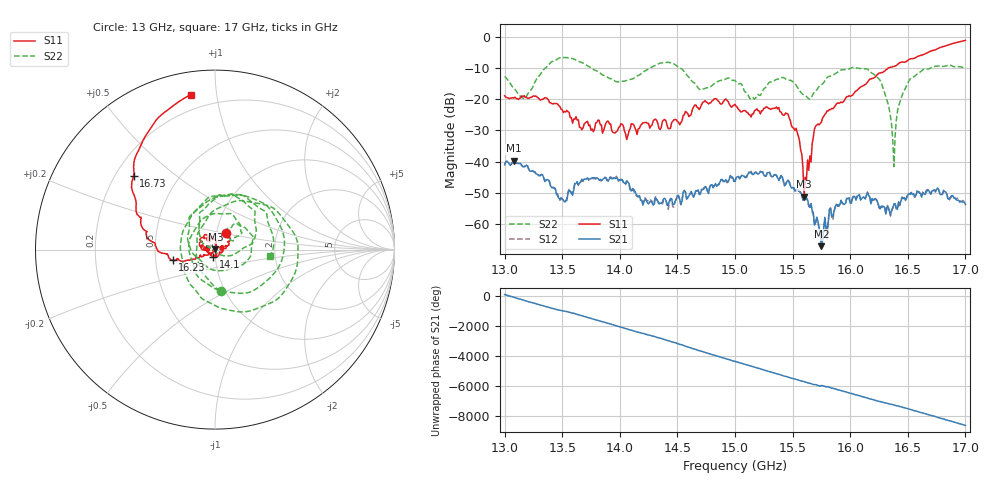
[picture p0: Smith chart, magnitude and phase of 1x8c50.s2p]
!Keysight Technologies,P9374A,MY57211807,A.19.30.04
!Date: Friday, May 08, 2026 15:11:56
!Correction: S11(C  2-Port  )
!S21(C  2-Port  )
!S12(C  2-Port  )
!S22(C  2-Port  )
!S2P File: Measurements: S11, S21, S12, S22:
# Hz S  dB  R 50
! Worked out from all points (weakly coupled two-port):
!   401 points, 13 GHz to 17 GHz, reference 50 ohm
!   highest |S21| = -39.70 dB at 13.08 GHz (marker M1); lowest = -67.1 dB at 15.75 GHz (marker M2)
!   lowest |S11| = -51.3 dB at 15.6 GHz (marker M3), VSWR 1.01, Z = 50.2 + j0.209 ohm
!   |S11| at or under -10 dB: start of sweep to 16.33 GHz
!   |S22| runs from -41.6 to -6.6 dB; largest |S21 - S12| = 0.00042
!   S11 on the Smith chart (normalised r, x): 13 GHz: 1.11, +0.21; 14.1 GHz: 0.98, -0.08; 16.23 GHz: 0.61, -0.08; 16.73 GHz: 0.27, +0.36; 17 GHz: 0.12, +0.85
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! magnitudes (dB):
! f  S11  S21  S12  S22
! 13 GHz  -18.9  -41.0  -40.9  -12.7
! 13.08 GHz  -19.6  -39.7  -39.7  -16.5
! 13.18 GHz  -19.4  -41.5  -41.5  -19.7
! 13.52 GHz  -23.9  -52.9  -52.9  -6.6
! 13.67 GHz  -29.8  -45.6  -45.9  -8.2
! 14.1 GHz  -27.9  -49.4  -49.6  -13.6
! 14.34 GHz  -29.3  -53.6  -53.4  -8.6
! 14.7 GHz  -22.6  -50.4  -50.2  -17.0
! 15 GHz  -21.6  -46.2  -46.4  -14.1
! 15.15 GHz  -24.7  -44.1  -44.1  -19.3
! 15.46 GHz  -24.7  -45.9  -45.9  -13.9
! 15.55 GHz  -31.8  -49.3  -49.4  -16.7
! 15.6 GHz  -51.3  -51.7  -51.5  -18.7
! 15.67 GHz  -34.2  -55.7  -56.1  -19.0
! 15.75 GHz  -27.4  -67.1  -66.6  -15.3
! 15.9 GHz  -21.3  -54.3  -53.9  -11.1
! 16.23 GHz  -12.3  -52.4  -52.4  -12.8
! 16.34 GHz  -9.9  -55.9  -55.7  -23.4
! 16.38 GHz  -9.5  -53.6  -53.8  -41.6
! 16.51 GHz  -7.3  -50.3  -50.2  -14.2
! 16.73 GHz  -4.3  -49.1  -49.0  -9.5
! 17 GHz  -1.2  -53.7  -53.3  -10.2
